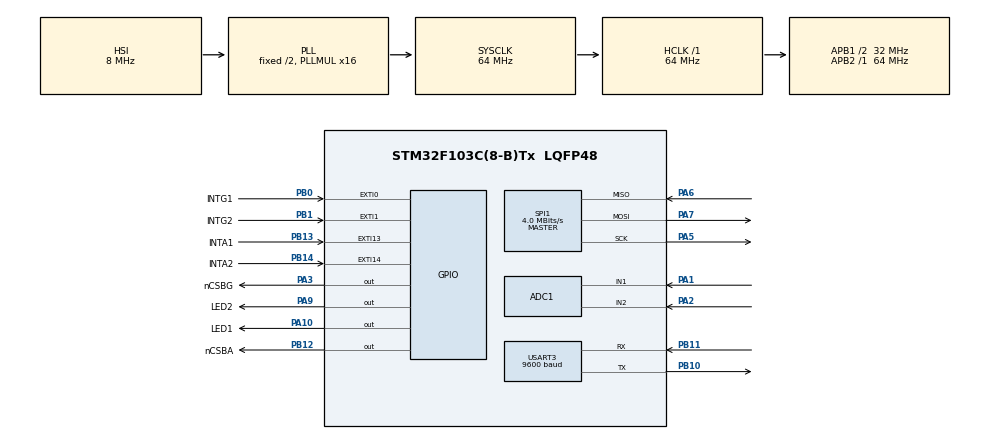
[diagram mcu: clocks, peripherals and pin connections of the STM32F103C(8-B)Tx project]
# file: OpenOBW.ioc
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ADC1.Channel-0\#ChannelRegularConversion=ADC_CHANNEL_1
ADC1.Channel-1\#ChannelRegularConversion=ADC_CHANNEL_2
ADC1.Channel-5\#ChannelRegularConversion=ADC_CHANNEL_VREFINT
ADC1.ContinuousConvMode=DISABLE
ADC1.NbrOfConversion=3
ADC1.NbrOfConversionFlag=1
ADC1.Rank-0\#ChannelRegularConversion=1
ADC1.Rank-1\#ChannelRegularConversion=2
ADC1.Rank-5\#ChannelRegularConversion=3
ADC1.SamplingTime-0\#ChannelRegularConversion=ADC_SAMPLETIME_239CYCLES_5
ADC1.SamplingTime-1\#ChannelRegularConversion=ADC_SAMPLETIME_239CYCLES_5
ADC1.SamplingTime-5\#ChannelRegularConversion=ADC_SAMPLETIME_239CYCLES_5
ADC1.master=1
Dma.ADC1.0.Direction=DMA_PERIPH_TO_MEMORY
Dma.ADC1.0.Instance=DMA1_Channel1
Dma.ADC1.0.MemDataAlignment=DMA_MDATAALIGN_HALFWORD
Dma.ADC1.0.MemInc=DMA_MINC_ENABLE
Dma.ADC1.0.Mode=DMA_NORMAL
Dma.ADC1.0.PeriphDataAlignment=DMA_PDATAALIGN_HALFWORD
Dma.ADC1.0.PeriphInc=DMA_PINC_DISABLE
Dma.ADC1.0.Priority=DMA_PRIORITY_LOW
Dma.Request0=ADC1
FREERTOS.Mutexes01=gsMutex,Dynamic,NULL
FREERTOS.Tasks01=defaultTask,24,384,StartDefaultTask,Default,NULL,Dynamic,NULL,NULL;commandTask,8,256,StartTaskCommand,Default,NULL,Dynamic,NULL,NULL;eventTask,8,256,StartTaskEvent,Default,NULL,Dynamic,NULL,NULL
FREERTOS.configTOTAL_HEAP_SIZE=8192
FREERTOS.configUSE_NEWLIB_REENTRANT=1
IWDG.Prescaler=IWDG_PRESCALER_256
IWDG.Reload=4095
Mcu.Family=STM32F1
Mcu.Name=STM32F103C(8-B)Tx
Mcu.Package=LQFP48
NVIC.DMA1_Channel1_IRQn=true\:5\:0\:false\:false\:true\:true\:false\:true\:true
NVIC.PriorityGroup=NVIC_PRIORITYGROUP_4
NVIC.TIM4_IRQn=true\:15\:0\:false\:false\:true\:false\:false\:true\:true
NVIC.TimeBase=TIM4_IRQn
NVIC.TimeBaseIP=TIM4
PA1.Signal=ADCx_IN1
PA10.PinState=GPIO_PIN_SET
PA10.GPIO_Label=LED1
PA10.Signal=GPIO_Output
PA13.Mode=Serial_Wire
PA13.Signal=SYS_JTMS-SWDIO
PA14.Mode=Serial_Wire
PA14.Signal=SYS_JTCK-SWCLK
PA2.Signal=ADCx_IN2
PA3.PinState=GPIO_PIN_SET
PA3.GPIO_Label=nCSBG
PA3.Signal=GPIO_Output
PA5.Mode=Full_Duplex_Master
PA5.Signal=SPI1_SCK
PA6.Mode=Full_Duplex_Master
PA6.Signal=SPI1_MISO
PA7.Mode=Full_Duplex_Master
PA7.Signal=SPI1_MOSI
PA9.GPIO_Label=LED2
PA9.Signal=GPIO_Output
PB0.GPIO_Label=INTG1
PB0.Signal=GPXTI0
PB1.GPIO_Label=INTG2
PB1.Signal=GPXTI1
PB10.Mode=Asynchronous
PB10.Signal=USART3_TX
PB11.Mode=Asynchronous
PB11.Signal=USART3_RX
PB12.PinState=GPIO_PIN_SET
PB12.GPIO_Label=nCSBA
PB12.Signal=GPIO_Output
PB13.GPIO_Label=INTA1
PB13.Signal=GPXTI13
PB14.GPIO_Label=INTA2
PB14.Signal=GPXTI14
ProjectManager.HeapSize=0x200
ProjectManager.StackSize=0x400
ProjectManager.TargetToolchain=STM32CubeIDE
RCC.ADCPresc=RCC_ADCPCLK2_DIV6
RCC.AHBFreq_Value=64000000
RCC.APB1CLKDivider=RCC_HCLK_DIV2
RCC.APB1Freq_Value=32000000
RCC.APB1TimFreq_Value=64000000
RCC.APB2Freq_Value=64000000
RCC.APB2TimFreq_Value=64000000
RCC.HCLKFreq_Value=64000000
RCC.PLLMUL=RCC_PLL_MUL16
RCC.SYSCLKFreq_VALUE=64000000
RCC.SYSCLKSource=RCC_SYSCLKSOURCE_PLLCLK
RCC.USBFreq_Value=64000000
SH.ADCx_IN1.0=ADC1_IN1,IN1
SH.ADCx_IN2.0=ADC1_IN2,IN2
SPI1.BaudRatePrescaler=SPI_BAUDRATEPRESCALER_16
SPI1.CLKPhase=SPI_PHASE_2EDGE
SPI1.CLKPolarity=SPI_POLARITY_HIGH
SPI1.CalculateBaudRate=4.0 MBits/s
SPI1.Direction=SPI_DIRECTION_2LINES
SPI1.Mode=SPI_MODE_MASTER
SPI1.VirtualType=VM_MASTER
USART3.BaudRate=9600
USART3.VirtualMode=VM_ASYNC
VP_ADC1_Vref_Input.Mode=IN-Vrefint
VP_FREERTOS_VS_CMSIS_V2.Mode=CMSIS_V2
VP_IWDG_VS_IWDG.Mode=IWDG_Activate
VP_SYS_VS_tim4.Mode=TIM4
board=custom

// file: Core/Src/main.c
/* USER CODE BEGIN Header */
/**
  ******************************************************************************
  * @file           : main.c
  * @brief          : Main program body
  ******************************************************************************
  * @attention
  *
  * Copyright (c) 2026 STMicroelectronics.
  * All rights reserved.
  *
  * This software is licensed under terms that can be found in the LICENSE file
  * in the root directory of this software component.
  * If no LICENSE file comes with this software, it is provided AS-IS.
  *
  ******************************************************************************
  */
/* USER CODE END Header */
#include "main.h"
#include "cmsis_os.h"

/* USER CODE BEGIN Includes */
#include "openobw_app.h"
#include "params.h"

/* USER CODE END Includes */

ADC_HandleTypeDef hadc1;
DMA_HandleTypeDef hdma_adc1;
SPI_HandleTypeDef hspi1;

IWDG_HandleTypeDef hiwdg;

UART_HandleTypeDef huart3;

/* Definitions for defaultTask */
osThreadId_t defaultTaskHandle;
const osThreadAttr_t defaultTask_attributes = {
  .name = "defaultTask",
  .stack_size = 384 * 4,
  .priority = (osPriority_t) osPriorityNormal,
};
/* Definitions for commandTask */
osThreadId_t commandTaskHandle;
const osThreadAttr_t commandTask_attributes = {
  .name = "commandTask",
  .stack_size = 256 * 4,
  .priority = (osPriority_t) osPriorityLow,
};
/* Definitions for eventTask */
osThreadId_t eventTaskHandle;
const osThreadAttr_t eventTask_attributes = {
  .name = "eventTask",
  .stack_size = 256 * 4,
  .priority = (osPriority_t) osPriorityLow,
};
/* Definitions for gsMutex */
osMutexId_t gsMutexHandle;
const osMutexAttr_t gsMutex_attributes = {
  .name = "gsMutex"
};

void SystemClock_Config(void);
static void MX_GPIO_Init(void);
static void MX_SPI1_Init(void);
static void MX_DMA_Init(void);
static void MX_ADC1_Init(void);
static void MX_USART3_UART_Init(void);
static void MX_IWDG_Init(void);
void StartDefaultTask(void *argument);
void StartTaskCommand(void *argument);
void StartTaskEvent(void *argument);

/* USER CODE BEGIN 0 */
static void Startup_Fault(void)
{
  for (;;) {
    HAL_GPIO_TogglePin(LED2_GPIO_Port, LED2_Pin);
    HAL_Delay(250);
  }
}

/* USER CODE END 0 */

int main(void)
{

  /* MCU Configuration--------------------------------------------------------*/

  /* Reset of all peripherals, Initializes the Flash interface and the Systick. */
  HAL_Init();

  /* Configure the system clock */
  SystemClock_Config();

  /* Initialize all configured peripherals */
  MX_GPIO_Init();
  MX_DMA_Init();
  MX_ADC1_Init();
  MX_USART3_UART_Init();
  MX_SPI1_Init();
  /* USER CODE BEGIN 2 */
  if (!Bmi088_Init() || HAL_ADCEx_Calibration_Start(&hadc1) != HAL_OK) {
    Startup_Fault();
  }
  Params_Load();
  Filters_SetType(g_params.filter_type);

  /* USER CODE END 2 */

  /* Init scheduler */
  osKernelInitialize();
  /* Create the mutex(es) */
  /* creation of gsMutex */
  gsMutexHandle = osMutexNew(&gsMutex_attributes);

  /* USER CODE BEGIN RTOS_QUEUES */
  if (gsMutexHandle == NULL || !Protocol_Init()) Error_Handler();
  /* USER CODE END RTOS_QUEUES */

  /* Create the thread(s) */
  /* creation of defaultTask */
  defaultTaskHandle = osThreadNew(StartDefaultTask, NULL, &defaultTask_attributes);

  /* creation of commandTask */
  commandTaskHandle = osThreadNew(StartTaskCommand, NULL, &commandTask_attributes);

  /* creation of eventTask */
  eventTaskHandle = osThreadNew(StartTaskEvent, NULL, &eventTask_attributes);

  /* USER CODE BEGIN RTOS_THREADS */
  if (defaultTaskHandle == NULL || commandTaskHandle == NULL ||
      eventTaskHandle == NULL) Error_Handler();
  /* Start the watchdog only after successful hardware initialization. */
  MX_IWDG_Init();
  /* USER CODE END RTOS_THREADS */

  /* Start scheduler */
  osKernelStart();

  /* We should never get here as control is now taken by the scheduler */

  /* Infinite loop */
  while (1)
  {

  }
}

void SystemClock_Config(void)
{
  RCC_OscInitTypeDef RCC_OscInitStruct = {0};
  RCC_ClkInitTypeDef RCC_ClkInitStruct = {0};
  RCC_PeriphCLKInitTypeDef PeriphClkInit = {0};

  /** Initializes the RCC Oscillators according to the specified parameters
  * in the RCC_OscInitTypeDef structure.
  */
  RCC_OscInitStruct.OscillatorType = RCC_OSCILLATORTYPE_HSI|RCC_OSCILLATORTYPE_LSI;
  RCC_OscInitStruct.HSIState = RCC_HSI_ON;
  RCC_OscInitStruct.HSICalibrationValue = RCC_HSICALIBRATION_DEFAULT;
  RCC_OscInitStruct.LSIState = RCC_LSI_ON;
  RCC_OscInitStruct.PLL.PLLState = RCC_PLL_ON;
  RCC_OscInitStruct.PLL.PLLSource = RCC_PLLSOURCE_HSI_DIV2;
  RCC_OscInitStruct.PLL.PLLMUL = RCC_PLL_MUL16;
  if (HAL_RCC_OscConfig(&RCC_OscInitStruct) != HAL_OK)
  {
    Error_Handler();
  }

  /** Initializes the CPU, AHB and APB buses clocks
  */
  RCC_ClkInitStruct.ClockType = RCC_CLOCKTYPE_HCLK|RCC_CLOCKTYPE_SYSCLK
                              |RCC_CLOCKTYPE_PCLK1|RCC_CLOCKTYPE_PCLK2;
  RCC_ClkInitStruct.SYSCLKSource = RCC_SYSCLKSOURCE_PLLCLK;
  RCC_ClkInitStruct.AHBCLKDivider = RCC_SYSCLK_DIV1;
  RCC_ClkInitStruct.APB1CLKDivider = RCC_HCLK_DIV2;
  RCC_ClkInitStruct.APB2CLKDivider = RCC_HCLK_DIV1;

  if (HAL_RCC_ClockConfig(&RCC_ClkInitStruct, FLASH_LATENCY_2) != HAL_OK)
  {
    Error_Handler();
  }
  PeriphClkInit.PeriphClockSelection = RCC_PERIPHCLK_ADC;
  PeriphClkInit.AdcClockSelection = RCC_ADCPCLK2_DIV6;
  if (HAL_RCCEx_PeriphCLKConfig(&PeriphClkInit) != HAL_OK)
  {
    Error_Handler();
  }
}

static void MX_ADC1_Init(void)
{

  ADC_ChannelConfTypeDef sConfig = {0};

  /** Common config
  */
  hadc1.Instance = ADC1;
  hadc1.Init.ScanConvMode = ADC_SCAN_ENABLE;
  hadc1.Init.ContinuousConvMode = DISABLE;
  hadc1.Init.DiscontinuousConvMode = DISABLE;
  hadc1.Init.ExternalTrigConv = ADC_SOFTWARE_START;
  hadc1.Init.DataAlign = ADC_DATAALIGN_RIGHT;
  hadc1.Init.NbrOfConversion = 3;
  if (HAL_ADC_Init(&hadc1) != HAL_OK)
  {
    Error_Handler();
  }

  /** Configure Regular Channel
  */
  sConfig.Channel = ADC_CHANNEL_1;
  sConfig.Rank = ADC_REGULAR_RANK_1;
  sConfig.SamplingTime = ADC_SAMPLETIME_239CYCLES_5;
  if (HAL_ADC_ConfigChannel(&hadc1, &sConfig) != HAL_OK)
  {
    Error_Handler();
  }

  /** Configure Regular Channel
  */
  sConfig.Channel = ADC_CHANNEL_2;
  sConfig.Rank = ADC_REGULAR_RANK_2;
  if (HAL_ADC_ConfigChannel(&hadc1, &sConfig) != HAL_OK)
  {
    Error_Handler();
  }

  /** Configure Regular Channel
  */
  sConfig.Channel = ADC_CHANNEL_VREFINT;
  sConfig.Rank = ADC_REGULAR_RANK_3;
  if (HAL_ADC_ConfigChannel(&hadc1, &sConfig) != HAL_OK)
  {
    Error_Handler();
  }

}

static void MX_IWDG_Init(void)
{

  hiwdg.Instance = IWDG;
  hiwdg.Init.Prescaler = IWDG_PRESCALER_256;
  hiwdg.Init.Reload = 4095;
  if (HAL_IWDG_Init(&hiwdg) != HAL_OK)
  {
    Error_Handler();
  }

}

static void MX_USART3_UART_Init(void)
{

  huart3.Instance = USART3;
  huart3.Init.BaudRate = 9600;
  huart3.Init.WordLength = UART_WORDLENGTH_8B;
  huart3.Init.StopBits = UART_STOPBITS_1;
  huart3.Init.Parity = UART_PARITY_NONE;
  huart3.Init.Mode = UART_MODE_TX_RX;
  huart3.Init.HwFlowCtl = UART_HWCONTROL_NONE;
  huart3.Init.OverSampling = UART_OVERSAMPLING_16;
  if (HAL_UART_Init(&huart3) != HAL_OK)
  {
    Error_Handler();
  }

}

static void MX_DMA_Init(void)
{

  /* DMA controller clock enable */
  __HAL_RCC_DMA1_CLK_ENABLE();

  /* DMA interrupt init */
  /* DMA1_Channel1_IRQn interrupt configuration */
  HAL_NVIC_SetPriority(DMA1_Channel1_IRQn, 5, 0);
  HAL_NVIC_EnableIRQ(DMA1_Channel1_IRQn);

}

static void MX_GPIO_Init(void)
{
  GPIO_InitTypeDef GPIO_InitStruct = {0};

  /* GPIO Ports Clock Enable */
  __HAL_RCC_GPIOA_CLK_ENABLE();
  __HAL_RCC_GPIOB_CLK_ENABLE();

  /*Configure GPIO pin Output Level */
  HAL_GPIO_WritePin(GPIOA, nCSBG_Pin | LED1_Pin, GPIO_PIN_SET);
  HAL_GPIO_WritePin(LED2_GPIO_Port, LED2_Pin, GPIO_PIN_RESET);

  /*Configure GPIO pin Output Level */
  HAL_GPIO_WritePin(nCSBA_GPIO_Port, nCSBA_Pin, GPIO_PIN_SET);

  /*Configure GPIO pins : nCSBG_Pin LED2_Pin LED1_Pin */
  GPIO_InitStruct.Pin = nCSBG_Pin|LED2_Pin|LED1_Pin;
  GPIO_InitStruct.Mode = GPIO_MODE_OUTPUT_PP;
  GPIO_InitStruct.Pull = GPIO_NOPULL;
  GPIO_InitStruct.Speed = GPIO_SPEED_FREQ_LOW;
  HAL_GPIO_Init(GPIOA, &GPIO_InitStruct);

  /* Configure the two data-ready interrupt inputs. */
  GPIO_InitStruct.Pin = INTG1_Pin | INTA1_Pin;
  GPIO_InitStruct.Mode = GPIO_MODE_IT_RISING;
  GPIO_InitStruct.Pull = GPIO_NOPULL;
  HAL_GPIO_Init(GPIOB, &GPIO_InitStruct);

  /*Configure GPIO pin : nCSBA_Pin */
  GPIO_InitStruct.Pin = nCSBA_Pin;
  GPIO_InitStruct.Mode = GPIO_MODE_OUTPUT_PP;
  GPIO_InitStruct.Pull = GPIO_NOPULL;
  GPIO_InitStruct.Speed = GPIO_SPEED_FREQ_LOW;
  HAL_GPIO_Init(nCSBA_GPIO_Port, &GPIO_InitStruct);

  /* USER CODE BEGIN MX_GPIO_Init_2 */
  HAL_NVIC_SetPriority(EXTI0_IRQn, 5, 0);
  HAL_NVIC_SetPriority(EXTI15_10_IRQn, 5, 0);
  HAL_NVIC_SetPriority(USART3_IRQn, 5, 0);

  /* USER CODE END MX_GPIO_Init_2 */
}

static void MX_SPI1_Init(void)
{
  hspi1.Instance = SPI1;
  hspi1.Init = (SPI_InitTypeDef){
    .Mode = SPI_MODE_MASTER,
    .Direction = SPI_DIRECTION_2LINES,
    .DataSize = SPI_DATASIZE_8BIT,
    .CLKPolarity = SPI_POLARITY_HIGH,
    .CLKPhase = SPI_PHASE_2EDGE,
    .NSS = SPI_NSS_SOFT,
    .BaudRatePrescaler = SPI_BAUDRATEPRESCALER_16,
    .FirstBit = SPI_FIRSTBIT_MSB,
    .TIMode = SPI_TIMODE_DISABLE,
    .CRCCalculation = SPI_CRCCALCULATION_DISABLE,
    .CRCPolynomial = 7
  };
  if (HAL_SPI_Init(&hspi1) != HAL_OK) Startup_Fault();
}

void StartDefaultTask(void *argument)
{
  /* USER CODE BEGIN 5 */
  (void)argument;
  App_Acquire();
  /* USER CODE END 5 */
}

void StartTaskCommand(void *argument)
{
  /* USER CODE BEGIN StartTaskCommand */
  (void)argument;
  Protocol_Run();
  /* USER CODE END StartTaskCommand */
}

void StartTaskEvent(void *argument)
{
  /* USER CODE BEGIN StartTaskEvent */
  (void)argument;
  App_Monitor();
  /* USER CODE END StartTaskEvent */
}

void HAL_TIM_PeriodElapsedCallback(TIM_HandleTypeDef *htim)
{
  if (htim->Instance == TIM4)
  {
    HAL_IncTick();
  }
}

void Error_Handler(void)
{
  __disable_irq();
  while (1)
  {
  }
}
